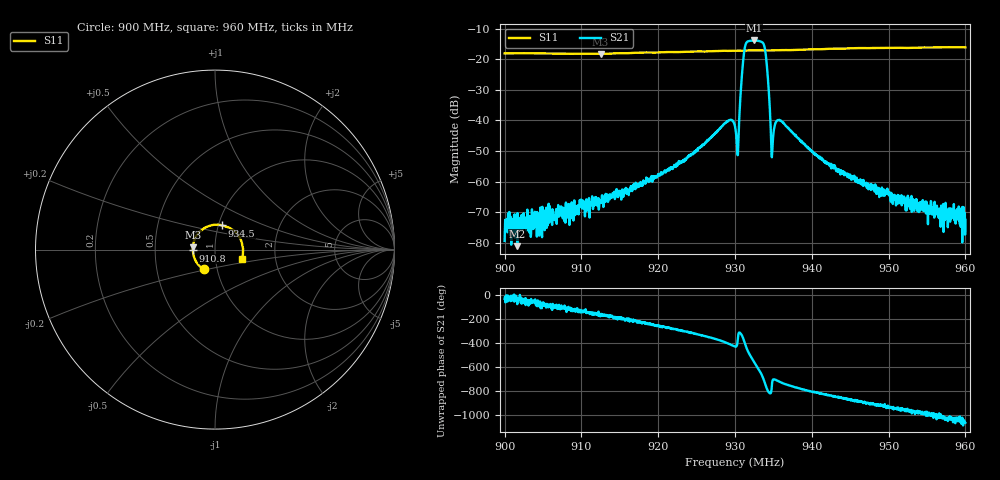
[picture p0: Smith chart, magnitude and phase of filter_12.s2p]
!Agilent Technologies,E5071C,MY46214392,A.11.36
!Date: Thu Feb 26 21:36:25 2026
!Data & Calibration Information:
!Freq	S11:NONE(--)	S21:NONE(--)	S12:NONE(--)	S22:NONE(--)
!PortZ  Port1:50+j0  Port2:50+j0
!Above PortZ is port z conversion or system Z0 setting when saving the data.
!When reading, reference impedance value at option line is always used.
# Hz S dB R 50
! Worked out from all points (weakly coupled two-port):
!   1601 points, 900 MHz to 960 MHz, reference 50 ohm
!   highest |S21| = -13.83 dB at 932.5 MHz (marker M1); lowest = -81.1 dB at 901.6 MHz (marker M2)
!   lowest |S11| = -18.2 dB at 912.5 MHz (marker M3), VSWR 1.28, Z = 39.1 + j1.08 ohm
!   |S11| at or under -10 dB: start of sweep to end of sweep
!   S12 and S22 are empty: the file has one direction only
!   S11 on the Smith chart (normalised r, x): 900 MHz: 0.86, -0.19; 910.8 MHz: 0.78, -0.01; 934.5 MHz: 1.04, +0.28; 960 MHz: 1.34, -0.14
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9e8  -18.06 -120.1  -79.39 -31.1  -200.00 0.0  -200.00 0.0
9.00375e8  -18.05 -122.0  -76.57 -53.0  -200.00 0.0  -200.00 0.0
9.0165e8  -18.03 -128.8  -81.11 -74.3  -200.00 0.0  -200.00 0.0
9.100125e8  -18.20 -173.8  -68.40 -134.7  -200.00 0.0  -200.00 0.0
9.108e8  -18.14 -177.8  -67.62 -139.0  -200.00 0.0  -200.00 0.0
9.124875e8  -18.21 173.6  -66.48 -174.0  -200.00 0.0  -200.00 0.0
9.20025e8  -17.76 136.8  -57.59 104.3  -200.00 0.0  -200.00 0.0
9.290625e8  -17.24 96.2  -40.30 -41.0  -200.00 0.0  -200.00 0.0
9.3e8  -17.18 92.6  -41.90 -67.8  -200.00 0.0  -200.00 0.0
9.304125e8  -17.17 90.8  -48.66 28.5  -200.00 0.0  -200.00 0.0
9.30975e8  -17.17 88.4  -22.90 14.9  -200.00 0.0  -200.00 0.0
9.3135e8  -17.15 87.2  -15.39 -52.4  -200.00 0.0  -200.00 0.0
9.32475e8  -17.07 82.3  -13.83 166.0  -200.00 0.0  -200.00 0.0
9.331875e8  -17.05 79.3  -14.06 92.1  -200.00 0.0  -200.00 0.0
9.337875e8  -17.08 76.8  -15.39 8.3  -200.00 0.0  -200.00 0.0
9.341625e8  -17.11 75.6  -22.40 -60.4  -200.00 0.0  -200.00 0.0
9.345e8  -17.12 74.5  -34.55 -95.2  -200.00 0.0  -200.00 0.0
9.349125e8  -17.09 73.2  -47.25 13.1  -200.00 0.0  -200.00 0.0
9.3585e8  -17.02 69.9  -39.99 -1.9  -200.00 0.0  -200.00 0.0
9.400125e8  -16.75 54.7  -50.29 -83.1  -200.00 0.0  -200.00 0.0
9.50025e8  -16.24 17.8  -64.43 141.4  -200.00 0.0  -200.00 0.0
9.6e8  -16.09 -19.2  -72.50 17.9  -200.00 0.0  -200.00 0.0
